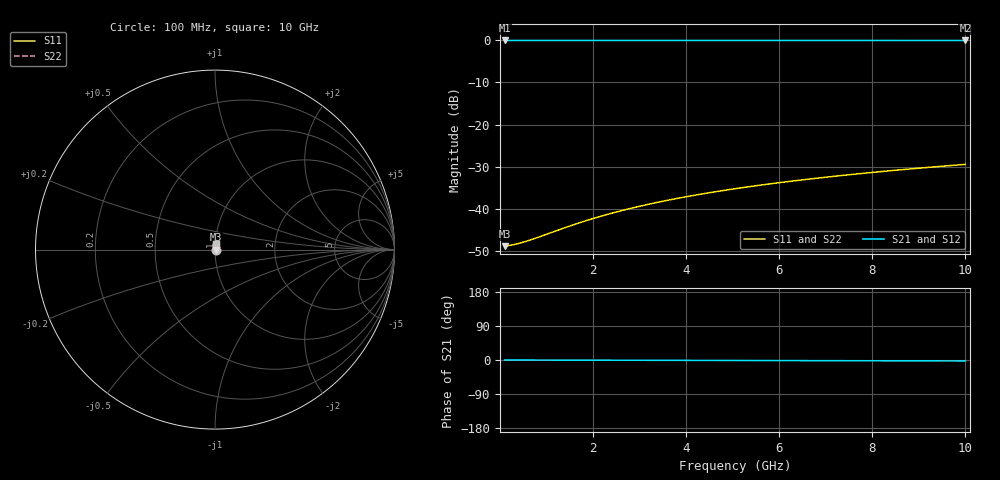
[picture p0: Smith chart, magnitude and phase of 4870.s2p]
# Hz S RI R 50.00
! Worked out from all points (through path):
!   100 points, 100 MHz to 10 GHz, reference 50 ohm
!   highest |S21| = -0.03 dB at 100 MHz (marker M1); lowest = 0.0 dB at 10 GHz (marker M2)
!   lowest |S11| = -48.9 dB at 100 MHz (marker M3), VSWR 1.01, Z = 50.4 + j0.0334 ohm
!   |S11| at or under -10 dB: start of sweep to end of sweep
!   |S22| runs from -48.9 to -29.5 dB; largest |S21 - S12| = 0
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1e8  0.00358 0.000332  0.9964 -0.000436  0.9964 -0.000436  0.00358 0.000332
2e8  0.0036 0.000664  0.9964 -0.000872  0.9964 -0.000872  0.0036 0.000664
3e8  0.00362 0.000996  0.9964 -0.00131  0.9964 -0.00131  0.00362 0.000996
4e8  0.00363 0.00133  0.9964 -0.00174  0.9964 -0.00174  0.00363 0.00133
6e8  0.00366 0.00199  0.9963 -0.00262  0.9963 -0.00262  0.00366 0.00199
8e8  0.00368 0.00265  0.9963 -0.00349  0.9963 -0.00349  0.00368 0.00265
1.4e9  0.00374 0.00465  0.9963 -0.0061  0.9963 -0.0061  0.00374 0.00465
1.8e9  0.00378 0.00597  0.9962 -0.00785  0.9962 -0.00785  0.00378 0.00597
2.2e9  0.00382 0.0073  0.9962 -0.00959  0.9962 -0.00959  0.00382 0.0073
2.6e9  0.00386 0.00863  0.9961 -0.0113  0.9961 -0.0113  0.00386 0.00863
3e9  0.00391 0.00995  0.9961 -0.0131  0.9961 -0.0131  0.00391 0.00995
3.4e9  0.00396 0.0113  0.996 -0.0148  0.996 -0.0148  0.00396 0.0113
3.8e9  0.00401 0.0126  0.996 -0.0166  0.996 -0.0166  0.00401 0.0126
4.2e9  0.00407 0.0139  0.9959 -0.0183  0.9959 -0.0183  0.00407 0.0139
4.6e9  0.00413 0.0153  0.9959 -0.0201  0.9959 -0.0201  0.00413 0.0153
5.1e9  0.00421 0.0169  0.9958 -0.0222  0.9958 -0.0222  0.00421 0.0169
5.9e9  0.00436 0.0196  0.9956 -0.0257  0.9956 -0.0257  0.00436 0.0196
6.7e9  0.00452 0.0222  0.9954 -0.0292  0.9954 -0.0292  0.00452 0.0222
7.5e9  0.0047 0.0249  0.9953 -0.0327  0.9953 -0.0327  0.0047 0.0249
8.4e9  0.00493 0.0279  0.995 -0.0366  0.995 -0.0366  0.00493 0.0279
9.2e9  0.00515 0.0305  0.9948 -0.0401  0.9948 -0.0401  0.00515 0.0305
1e10  0.00539 0.0332  0.9945 -0.0436  0.9945 -0.0436  0.00539 0.0332
